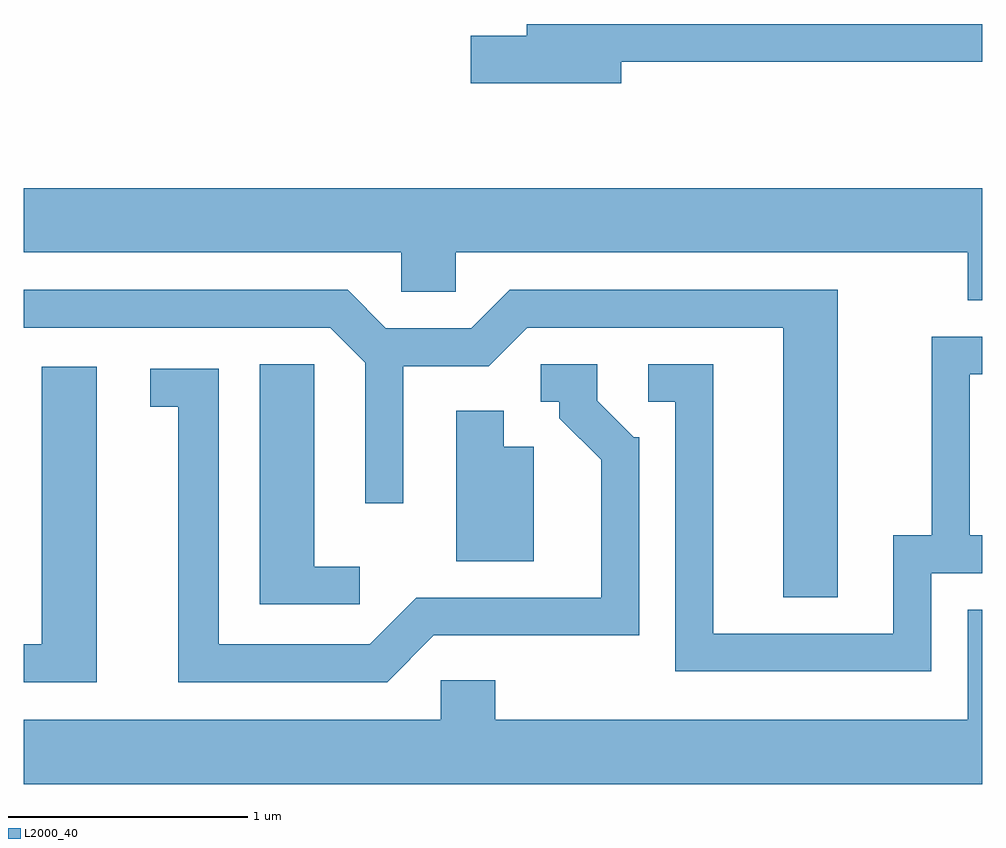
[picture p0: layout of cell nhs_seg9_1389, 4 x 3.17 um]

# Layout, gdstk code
import gdstk
lib = gdstk.Library(unit=1e-6, precision=1e-09)
def P(c, l, *ps):  # polygons
    for p in ps: c.add(gdstk.Polygon(p, *l))
L2000_40 = (2000, 40)

nhs_seg9_1389 = lib.new_cell('nhs_seg9_1389')
P(nhs_seg9_1389, L2000_40, [(228.104,2005.931),(229.611,2005.931),(229.611,2006.089),(227.711,2006.089),(227.711,2006.039),(227.476,2006.039),(227.476,2005.841),(228.104,2005.841)],
  [(229.611,2005.404),(225.611,2005.404),(225.611,2005.136),(227.186,2005.136),(227.186,2004.971),(227.414,2004.971),(227.414,2005.136),(229.551,2005.136),(229.551,2004.936),(229.611,2004.936)],
  [(229.009,2004.979),(227.639,2004.979),(227.479,2004.819),(227.122,2004.819),(226.962,2004.979),(225.611,2004.979),(225.611,2004.821),(226.889,2004.821),(227.036,2004.674),(227.036,2004.088),(227.194,2004.088),(227.194,2004.661),(227.552,2004.661),(227.712,2004.821),(228.781,2004.821),(228.781,2003.696),(229.009,2003.696)],
  [(229.399,2003.796),(229.611,2003.796),(229.611,2003.954),(229.559,2003.954),(229.559,2004.626),(229.611,2004.626),(229.611,2004.784),(229.401,2004.784),(229.401,2003.954),(229.241,2003.954),(229.241,2003.544),(228.489,2003.544),(228.489,2004.669),(228.218,2004.669),(228.218,2004.511),(228.331,2004.511),(228.331,2003.386),(229.399,2003.386)],
  [(227.322,2003.536),(228.179,2003.536),(228.179,2004.364),(228.157,2004.364),(228.004,2004.517),(228.004,2004.669),(227.768,2004.669),(227.768,2004.511),(227.846,2004.511),(227.846,2004.444),(228.021,2004.269),(228.021,2003.694),(227.249,2003.694),(227.054,2003.499),(226.424,2003.499),(226.424,2004.649),(226.138,2004.649),(226.138,2004.491),(226.256,2004.491),(226.256,2003.341),(227.127,2003.341)],
  [(227.013,2003.824),(226.824,2003.824),(226.824,2004.669),(226.596,2004.669),(226.596,2003.666),(227.013,2003.666)],
  [(225.914,2004.659),(225.686,2004.659),(225.686,2003.499),(225.611,2003.499),(225.611,2003.341),(225.914,2003.341)],
  [(227.739,2004.324),(227.614,2004.324),(227.614,2004.474),(227.416,2004.474),(227.416,2003.846),(227.739,2003.846)],
  [(229.611,2003.644),(229.551,2003.644),(229.551,2003.184),(227.579,2003.184),(227.579,2003.349),(227.351,2003.349),(227.351,2003.184),(225.611,2003.184),(225.611,2002.916),(229.611,2002.916)])

lib.write_gds('nhs_seg9_1389.gds')
